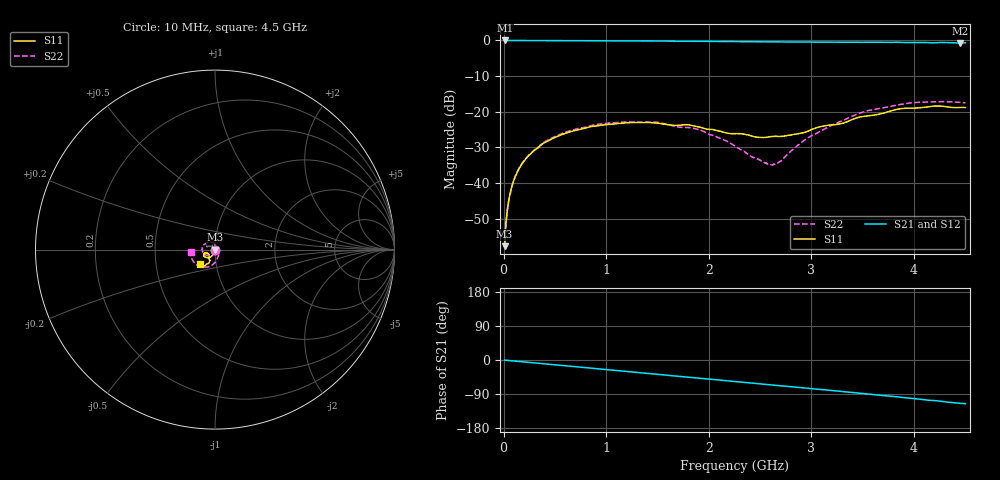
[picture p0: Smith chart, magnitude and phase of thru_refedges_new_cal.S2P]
!Agilent Technologies,E5071C,MY46101273,A.11.02
!Date: Mon Oct 02 17:07:39 2017
!Data & Calibration Information:
!Freq	S11:SOLT2(ON)	S21:SOLT2(ON)	S12:SOLT2(ON)	S22:SOLT2(ON)
!PortZ  Port1:50+j0  Port2:50+j0
!Above PortZ is port z conversion or system Z0 setting when saving the data.
!When reading, reference impedance value at option line is always used.
# Hz S dB R 50
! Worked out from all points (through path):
!   1601 points, 10 MHz to 4.5 GHz, reference 50 ohm
!   highest |S21| = 0.00 dB at 12.81 MHz (marker M1); lowest = -0.7 dB at 4.447 GHz (marker M2)
!   group delay of S21, straight-line fit = 70.8 ps
!   lowest |S11| = -57.7 dB at 10 MHz (marker M3), VSWR 1.00, Z = 50 - j0.125 ohm
!   |S11| at or under -10 dB: start of sweep to end of sweep
!   |S22| runs from -56.9 to -17.1 dB; largest |S21 - S12| = 0.012
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1e7  -57.69 -106.5  -0.00 -0.3  -0.01 -0.3  -56.90 -98.0
1.280625e7  -56.50 -96.6  -0.00 -0.3  -0.00 -0.3  -56.01 -98.8
4.3675e7  -46.09 -98.7  -0.01 -1.1  -0.01 -1.1  -46.02 -98.5
7.454375e7  -41.60 -99.3  -0.01 -1.9  -0.01 -1.9  -41.66 -99.8
1.2225e8  -37.57 -101.2  -0.01 -3.1  -0.02 -3.1  -37.60 -104.1
1.896e8  -34.20 -105.5  -0.02 -4.8  -0.02 -4.8  -34.07 -109.7
2.822062e8  -31.29 -109.9  -0.02 -7.2  -0.03 -7.2  -31.10 -116.4
4.056812e8  -28.53 -115.5  -0.04 -10.3  -0.04 -10.3  -28.31 -124.7
7.592688e8  -24.80 -129.4  -0.06 -19.2  -0.06 -19.2  -24.50 -149.3
1.121275e9  -23.29 -142.7  -0.12 -28.3  -0.11 -28.4  -22.96 -174.0
1.508538e9  -23.21 -155.5  -0.15 -37.9  -0.18 -37.9  -23.00 159.9
1.898606e9  -24.24 -162.0  -0.22 -47.7  -0.21 -47.6  -25.02 131.8
2.255e9  -26.15 -157.9  -0.32 -56.8  -0.29 -56.9  -29.61 96.9
2.417762e9  -26.78 -152.6  -0.35 -60.7  -0.41 -60.7  -32.66 70.9
2.611394e9  -26.95 -143.9  -0.41 -65.7  -0.38 -66.0  -34.89 9.1
2.687162e9  -26.93 -140.2  -0.40 -67.6  -0.46 -67.7  -34.06 -14.5
3.004269e9  -24.94 -124.1  -0.48 -75.7  -0.48 -75.6  -26.67 -69.9
3.456075e9  -21.60 -114.7  -0.51 -87.3  -0.52 -87.4  -20.57 -104.6
3.753538e9  -19.93 -121.0  -0.56 -95.1  -0.54 -95.1  -18.60 -124.4
4.199731e9  -18.40 -128.4  -0.65 -107.0  -0.61 -107.3  -17.19 -154.0
4.446681e9  -18.80 -135.0  -0.69 -114.1  -0.75 -114.8  -17.36 -171.6
4.5e9  -18.80 -136.2  -0.66 -115.3  -0.74 -115.3  -17.47 -175.2
